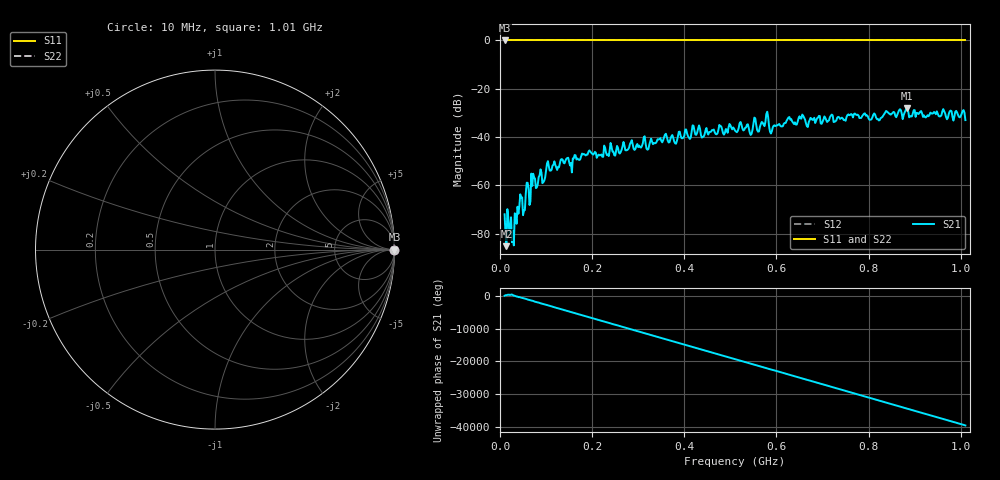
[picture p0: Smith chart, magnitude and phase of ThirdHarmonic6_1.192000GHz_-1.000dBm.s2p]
! 8/16/2025 12:16:14 PM
! C:\ANRITSUVNA\TEMP\TEMP.S2P
! CHANNEL.1
! TR.MEASUREMENT
! RAW.DATA
! RF.CORRECTION.OFF
! AVERAGING.OFF
! IF.BANDWIDTH: 5KHZ
! SWEEPTYPE:  FREQ.SWEEP(Linear)
! Reference Plane Port Info
! PORT:  PORT1  PORT2
! DISTANCE:  0  m  0  m
! TIME:  0  s  0  s
! PHASE.OFFSET:  0  deg.  0  deg.
! LOSS:  0  dB  0  dB
! REF.LOSS:  0  dB  0  dB
! REF.FREQ:  0  Hz  0  Hz
! Power Info
! POWER:  -20  dBm  -20  dBm
! EFF.POWER:  -20  dBm  -20  dBm
! SOURCE.ATTEN:  0  dB  0  dB
! TEST.ATTEN:  0  dB  0  dB
# GHZ S RI R 50.0
! FREQ.GHZ  S11RE  S11IM  S21RE  S21IM  S12RE  S12IM  S22RE  S22IM
!; PortSelection: Port_12
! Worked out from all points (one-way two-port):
!   501 points, 10 MHz to 1.01 GHz, reference 50 ohm
!   highest |S21| = -28.05 dB at 884 MHz (marker M1); lowest = -85.1 dB at 14 MHz (marker M2)
!   lowest |S11| = 0.0 dB at 10 MHz (marker M3)
!   |S11| at or under -10 dB: nowhere
!   |S22| runs from 0.0 to 0.0 dB; largest |S21 - S12| = 1
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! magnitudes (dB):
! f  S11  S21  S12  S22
! 10 MHz  0.0  -71.9  0.0  0.0
! 14 MHz  0.0  -85.1  0.0  0.0
! 26 MHz  0.0  -83.5  0.0  0.0
! 42 MHz  0.0  -68.5  0.0  0.0
! 52 MHz  0.0  -70.3  0.0  0.0
! 72 MHz  0.0  -55.1  0.0  0.0
! 80 MHz  0.0  -60.8  0.0  0.0
! 96 MHz  0.0  -58.0  0.0  0.0
! 104 MHz  0.0  -49.9  0.0  0.0
! 178 MHz  0.0  -46.8  0.0  0.0
! 344 MHz  0.0  -41.0  0.0  0.0
! 510 MHz  0.0  -37.3  0.0  0.0
! 544 MHz  0.0  -39.1  0.0  0.0
! 552 MHz  0.0  -31.9  0.0  0.0
! 562 MHz  0.0  -37.6  0.0  0.0
! 578 MHz  0.0  -30.4  0.0  0.0
! 588 MHz  0.0  -38.5  0.0  0.0
! 628 MHz  0.0  -31.7  0.0  0.0
! 678 MHz  0.0  -32.9  0.0  0.0
! 844 MHz  0.0  -30.2  0.0  0.0
! 884 MHz  0.0  -28.1  0.0  0.0
! 1.01 GHz  0.0  -32.9  0.0  0.0
